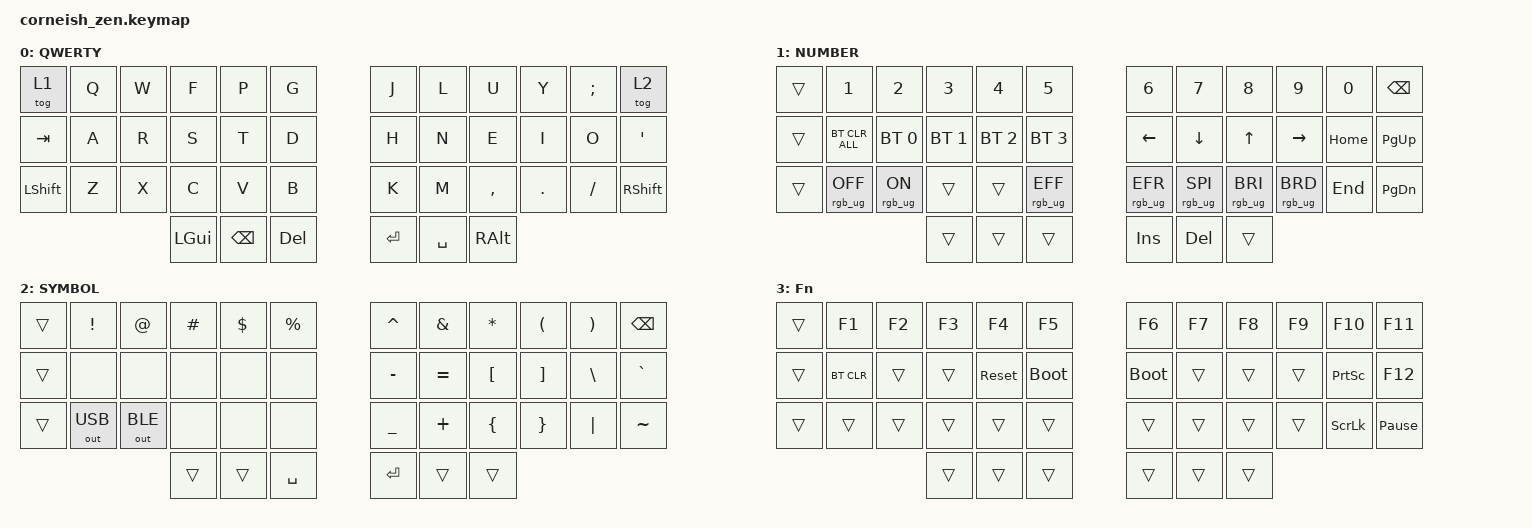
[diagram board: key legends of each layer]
/*
 * Copyright (c) 2020 The ZMK Contributors
 *
 * SPDX-License-Identifier: MIT
 */

#include <behaviors.dtsi>
#include <dt-bindings/zmk/bt.h>
#include <dt-bindings/zmk/keys.h>
#include <dt-bindings/zmk/outputs.h>
#include <dt-bindings/zmk/rgb.h>

/ {
    chosen {
        zmk,matrix_transform = &default_transform;

        // zmk,matrix_transform = &five_column_transform;
    };
};

/ {
    behaviors {
        td0: td0 {
            compatible = "zmk,behavior-tap-dance";
            label = "TD0";
            #binding-cells = <0>;
            bindings = <&kp LEFT_SHIFT>, <&kp CAPS>;
        };
    };

    combos {
        compatible = "zmk,combos";

        tog_layer_3 {
            bindings = <&tog 3>;
            key-positions = <0 11>;
        };

        ESCape {
            bindings = <&kp ESCAPE>;
            key-positions = <24 35>;
        };
    };

    keymap {
        compatible = "zmk,keymap";

        default_layer {
            display-name = "QWERTY";

            // --------------------------------------------------------------------------------
            // |  TAB |  Q  |  W  |  E  |  R  |  T  |   |  Y  |  U   |  I  |  O  |  P  | BKSP |
            // | CTRL |  A  |  S  |  D  |  F  |  G  |   |  H  |  J   |  K  |  L  |  ;  |  '   | 
            // | SHFT |  Z  |  X  |  C  |  V  |  B  |   |  N  |  M   |  ,  |  .  |  /  | ESC  |
            //                    | GUI | LWR | SPC |   | ENT | RSE  | ALT |

            bindings = <
&tog 1          &kp Q  &kp W  &kp F     &kp P          &kp G         &kp J      &kp L      &kp U      &kp Y    &kp SEMICOLON  &tog 2
&kp TAB         &kp A  &kp R  &kp S     &kp T          &kp D         &kp H      &kp N      &kp E      &kp I    &kp O          &kp SQT
&kp LEFT_SHIFT  &kp Z  &kp X  &kp C     &kp V          &kp B         &kp K      &kp M      &kp COMMA  &kp DOT  &kp FSLH       &kp RIGHT_SHIFT
                              &kp LGUI  &kp BACKSPACE  &kp DELETE    &kp ENTER  &kp SPACE  &kp RALT
            >;
        };

        lower_layer {
            display-name = "NUMBER";

            // -----------------------------------------------------------------------------------------
            // |  TAB |  1  |  2  |  3  |  4  |  5  |   |  6  |  7  |  8  |  9  |  0  | BKSP |
            // | BTCLR| BT1 | BT2 | BT3 | BT4 | BT5 |   | LFT | DWN |  UP | RGT |     |      |
            // | SHFT |     |     |     |     |     |   |     |     |     |     |     |      |
            //                    | GUI |     | SPC |   | ENT |     | ALT |

            bindings = <
&trans  &kp N1           &kp N2          &kp N3        &kp N4        &kp N5             &kp N6           &kp N7           &kp N8           &kp N9           &kp N0    &kp BSPC
&trans  &bt BT_CLR_ALL   &bt BT_SEL 0    &bt BT_SEL 1  &bt BT_SEL 2  &bt BT_SEL 3       &kp LEFT         &kp DOWN         &kp UP           &kp RIGHT        &kp HOME  &kp PG_UP
&trans  &rgb_ug RGB_OFF  &rgb_ug RGB_ON  &trans        &trans        &rgb_ug RGB_EFF    &rgb_ug RGB_EFR  &rgb_ug RGB_SPI  &rgb_ug RGB_BRI  &rgb_ug RGB_BRD  &kp END   &kp PG_DN
                                         &trans        &trans        &trans             &kp INS          &kp DEL          &trans
            >;
        };

        raise_layer {
            display-name = "SYMBOL";

            // -----------------------------------------------------------------------------------------
            // |  TAB |  !  |  @  |  #  |  $  |  %  |   |  ^  |  &  |  *  |  (  |  )  | BKSP |
            // | CTRL |     |     |     |     |     |   |  -  |  =  |  [  |  ]  |  \  |  `   |
            // | SHFT |     |     |     |     |     |   |  _  |  +  |  {  |  }  | "|" |  ~   |
            //                    | GUI |     | SPC |   | ENT |     | ALT |

            bindings = <
&trans  &kp EXCL      &kp AT        &kp HASH  &kp DLLR  &kp PRCNT    &kp CARET  &kp AMPS   &kp ASTRK  &kp LPAR  &kp RPAR  &kp BSPC
&trans  &none         &none         &none     &none     &none        &kp MINUS  &kp EQUAL  &kp LBKT   &kp RBKT  &kp BSLH  &kp GRAVE
&trans  &out OUT_USB  &out OUT_BLE  &none     &none     &none        &kp UNDER  &kp PLUS   &kp LBRC   &kp RBRC  &kp PIPE  &kp TILDE
                                    &trans    &trans    &kp SPACE    &kp RET    &trans     &trans
            >;
        };

        layer_3 {
            display-name = "Fn";
            bindings = <
&trans  &kp F1      &kp F2  &kp F3  &kp F4      &kp F5         &kp F6       &kp F7  &kp F8  &kp F9  &kp F10          &kp F11
&trans  &bt BT_CLR  &trans  &trans  &sys_reset  &bootloader    &bootloader  &trans  &trans  &trans  &kp PRINTSCREEN  &kp F12
&trans  &trans      &trans  &trans  &trans      &trans         &trans       &trans  &trans  &trans  &kp SCROLLLOCK   &kp PAUSE_BREAK
                            &trans  &trans      &trans         &trans       &trans  &trans
            >;
        };
    };
};
